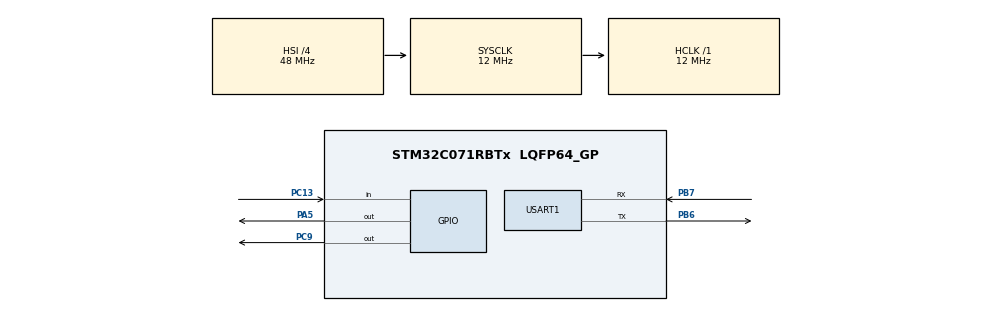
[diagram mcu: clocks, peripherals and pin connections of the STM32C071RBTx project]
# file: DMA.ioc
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Dma.MEMTOMEM.0.Direction=DMA_MEMORY_TO_MEMORY
Dma.MEMTOMEM.0.EventEnable=DISABLE
Dma.MEMTOMEM.0.Instance=DMA1_Channel1
Dma.MEMTOMEM.0.MemDataAlignment=DMA_MDATAALIGN_BYTE
Dma.MEMTOMEM.0.MemInc=DMA_MINC_ENABLE
Dma.MEMTOMEM.0.Mode=DMA_NORMAL
Dma.MEMTOMEM.0.PeriphDataAlignment=DMA_PDATAALIGN_BYTE
Dma.MEMTOMEM.0.PeriphInc=DMA_PINC_ENABLE
Dma.MEMTOMEM.0.Polarity=HAL_DMAMUX_REQ_GEN_RISING
Dma.MEMTOMEM.0.Priority=DMA_PRIORITY_LOW
Dma.MEMTOMEM.0.RequestNumber=1
Dma.MEMTOMEM.0.SignalID=NONE
Dma.MEMTOMEM.0.SyncEnable=DISABLE
Dma.MEMTOMEM.0.SyncPolarity=HAL_DMAMUX_SYNC_NO_EVENT
Dma.MEMTOMEM.0.SyncRequestNumber=1
Dma.MEMTOMEM.0.SyncSignalID=NONE
Dma.MEMTOMEM.1.Direction=DMA_MEMORY_TO_MEMORY
Dma.MEMTOMEM.1.EventEnable=DISABLE
Dma.MEMTOMEM.1.Instance=DMA1_Channel2
Dma.MEMTOMEM.1.MemDataAlignment=DMA_MDATAALIGN_BYTE
Dma.MEMTOMEM.1.MemInc=DMA_MINC_ENABLE
Dma.MEMTOMEM.1.Mode=DMA_NORMAL
Dma.MEMTOMEM.1.PeriphDataAlignment=DMA_PDATAALIGN_BYTE
Dma.MEMTOMEM.1.PeriphInc=DMA_PINC_ENABLE
Dma.MEMTOMEM.1.Polarity=HAL_DMAMUX_REQ_GEN_RISING
Dma.MEMTOMEM.1.Priority=DMA_PRIORITY_LOW
Dma.MEMTOMEM.1.RequestNumber=1
Dma.MEMTOMEM.1.SignalID=NONE
Dma.MEMTOMEM.1.SyncEnable=DISABLE
Dma.MEMTOMEM.1.SyncPolarity=HAL_DMAMUX_SYNC_NO_EVENT
Dma.MEMTOMEM.1.SyncRequestNumber=1
Dma.MEMTOMEM.1.SyncSignalID=NONE
Dma.Request0=MEMTOMEM
Dma.Request1=MEMTOMEM
Dma.Request2=USART1_RX
Dma.USART1_RX.2.Direction=DMA_PERIPH_TO_MEMORY
Dma.USART1_RX.2.EventEnable=DISABLE
Dma.USART1_RX.2.Instance=DMA1_Channel3
Dma.USART1_RX.2.MemDataAlignment=DMA_MDATAALIGN_BYTE
Dma.USART1_RX.2.MemInc=DMA_MINC_ENABLE
Dma.USART1_RX.2.Mode=DMA_NORMAL
Dma.USART1_RX.2.PeriphDataAlignment=DMA_PDATAALIGN_BYTE
Dma.USART1_RX.2.PeriphInc=DMA_PINC_DISABLE
Dma.USART1_RX.2.Polarity=HAL_DMAMUX_REQ_GEN_RISING
Dma.USART1_RX.2.Priority=DMA_PRIORITY_LOW
Dma.USART1_RX.2.RequestNumber=1
Dma.USART1_RX.2.SignalID=NONE
Dma.USART1_RX.2.SyncEnable=DISABLE
Dma.USART1_RX.2.SyncPolarity=HAL_DMAMUX_SYNC_NO_EVENT
Dma.USART1_RX.2.SyncRequestNumber=1
Dma.USART1_RX.2.SyncSignalID=NONE
Mcu.Family=STM32C0
Mcu.Name=STM32C071RBTx
Mcu.Package=LQFP64_GP
NUCLEO-C071RB.BUTTON=1
NUCLEO-C071RB.LD1=true
NUCLEO-C071RB.LD2=true
NUCLEO-C071RB.VCP=true
NVIC.DMA1_Channel1_IRQn=true\:0\:0\:false\:false\:true\:true\:true\:true
NVIC.DMA1_Channel2_3_IRQn=true\:0\:0\:false\:false\:true\:false\:true\:true
NVIC.EXTI4_15_IRQn=true\:0\:0\:false\:false\:true\:false\:true\:true
NVIC.USART1_IRQn=true\:0\:0\:false\:false\:true\:true\:true\:true
PA2.Signal=USART2_TX
PA3.Signal=USART2_RX
PA5.Signal=GPIO_Output
PB6.Mode=Asynchronous
PB6.Signal=USART1_TX
PB7.Mode=Asynchronous
PB7.Signal=USART1_RX
PC13.Signal=GPIO_Input
PC9.Signal=GPIO_Output
ProjectManager.HeapSize=0x200
ProjectManager.StackSize=0x400
ProjectManager.TargetToolchain=STM32CubeIDE
RCC.ADCFreq_Value=12000000
RCC.AHBFreq_Value=12000000
RCC.CortexFreq_Value=12000000
RCC.EXTERNAL_CLOCK_VALUE=12288000
RCC.HCLKFreq_Value=12000000
RCC.HSE_VALUE=8000000
RCC.HSI48_VALUE=48000000
RCC.HSI_VALUE=48000000
RCC.LSE_VALUE=32768
RCC.SYSCLKFreq_VALUE=12000000
USART1.VirtualMode-Asynchronous=VM_ASYNC
VP_NUCLEO-C071RB_VS_BSP_COMMON.Mode=COMMON
board=NUCLEO-C071RB

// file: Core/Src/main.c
/* USER CODE BEGIN Header */
/**
  ******************************************************************************
  * @file           : main.c
  * @brief          : Main program body
  ******************************************************************************
  * @attention
  *
  * Copyright (c) 2026 STMicroelectronics.
  * All rights reserved.
  *
  * This software is licensed under terms that can be found in the LICENSE file
  * in the root directory of this software component.
  * If no LICENSE file comes with this software, it is provided AS-IS.
  *
  ******************************************************************************
  */
/* USER CODE END Header */
#include "main.h"
#include "dma.h"
#include "usart.h"
#include "gpio.h"

/* USER CODE BEGIN Includes */
#include <string.h>
/* USER CODE END Includes */

COM_InitTypeDef BspCOMInit;

/* USER CODE BEGIN PV */

#define DMA_RX_BUFFER_SIZE 64

uint8_t dma_rx_buffer[DMA_RX_BUFFER_SIZE];

volatile char rx_string[DMA_RX_BUFFER_SIZE] = {0};

volatile uint16_t dma_rx_size = 0;
volatile uint16_t dma_message_count = 0;
volatile uint8_t dma_rx_complete_flag = 0;
volatile uint8_t uart_error_flag = 0;
volatile HAL_StatusTypeDef uart_status = HAL_OK;

/* USER CODE END PV */

void SystemClock_Config(void);

/* USER CODE BEGIN 0 */
//void XferCpltCallback(DMA_HandleTypeDef *hdma);
//uint8_t Buffer_Src[]={0,1,2,3,4,5,6,7,8,9};
//uint8_t Buffer_Dest[10];
/* USER CODE END 0 */

int main(void)
{

  /* MCU Configuration--------------------------------------------------------*/

  /* Reset of all peripherals, Initializes the Flash interface and the Systick. */
  HAL_Init();

  /* Configure the system clock */
  SystemClock_Config();

  /* Initialize all configured peripherals */
  MX_DMA_Init();
  MX_GPIO_Init();
  MX_USART1_UART_Init();
  /* USER CODE BEGIN 2 */

  /* Initialize leds */
  BSP_LED_Init(LED_GREEN);
  BSP_LED_Init(LED_BLUE);
//  HAL_DMA_Start(&hdma_memtomem_dma1_channel1, (uint32_t) (Buffer_Src), (uint32_t) (Buffer_Dest), 10);
//  while(HAL_DMA_PollForTransfer(&hdma_memtomem_dma1_channel1, HAL_DMA_FULL_TRANSFER, 100) != HAL_OK)
//  {
//    __NOP();
//  }
//  hdma_memtomem_dma1_channel1.XferCpltCallback=&XferCpltCallback;
//  HAL_DMA_Start_IT(&hdma_memtomem_dma1_channel1,(uint32_t)Buffer_Src,(uint32_t)Buffer_Dest,10);
  /*
   * Start USART1 DMA reception.
   * ReceiveToIdle means callback is called when:
   * 1. buffer is full, or
   * 2. UART line becomes idle after receiving data.
   */
  uart_status = HAL_UARTEx_ReceiveToIdle_DMA(&huart1,
                                             dma_rx_buffer,
                                             DMA_RX_BUFFER_SIZE);

  if (uart_status != HAL_OK)
  {
      Error_Handler();
  }

  /*
   * Optional: disable half-transfer interrupt.
   * This prevents callback from running when buffer is half full.
   */
  __HAL_DMA_DISABLE_IT(huart1.hdmarx, DMA_IT_HT);
  /* USER CODE END 2 */

  /* Initialize leds */
  BSP_LED_Init(LED_GREEN);
  BSP_LED_Init(LED_BLUE);

  /* Initialize USER push-button, will be used to trigger an interrupt each time it's pressed.*/
  BSP_PB_Init(BUTTON_USER, BUTTON_MODE_EXTI);

  /* Initialize COM1 port (115200, 8 bits (7-bit data + 1 stop bit), no parity */
  BspCOMInit.BaudRate   = 115200;
  BspCOMInit.WordLength = COM_WORDLENGTH_8B;
  BspCOMInit.StopBits   = COM_STOPBITS_1;
  BspCOMInit.Parity     = COM_PARITY_NONE;
  BspCOMInit.HwFlowCtl  = COM_HWCONTROL_NONE;
  if (BSP_COM_Init(COM1, &BspCOMInit) != BSP_ERROR_NONE)
  {
    Error_Handler();
  }

  /* Infinite loop */
  /* USER CODE BEGIN WHILE */
  while (1)
  {
      if (dma_rx_complete_flag == 1)
      {
          dma_rx_complete_flag = 0;
          BSP_LED_Toggle(LED_GREEN);
      }

      HAL_Delay(10);

    /* USER CODE END WHILE */

  }
}

void SystemClock_Config(void)
{
  RCC_OscInitTypeDef RCC_OscInitStruct = {0};
  RCC_ClkInitTypeDef RCC_ClkInitStruct = {0};

  __HAL_FLASH_SET_LATENCY(FLASH_LATENCY_0);

  /** Initializes the RCC Oscillators according to the specified parameters
  * in the RCC_OscInitTypeDef structure.
  */
  RCC_OscInitStruct.OscillatorType = RCC_OSCILLATORTYPE_HSI;
  RCC_OscInitStruct.HSIState = RCC_HSI_ON;
  RCC_OscInitStruct.HSIDiv = RCC_HSI_DIV4;
  RCC_OscInitStruct.HSICalibrationValue = RCC_HSICALIBRATION_DEFAULT;
  if (HAL_RCC_OscConfig(&RCC_OscInitStruct) != HAL_OK)
  {
    Error_Handler();
  }

  /** Initializes the CPU, AHB and APB buses clocks
  */
  RCC_ClkInitStruct.ClockType = RCC_CLOCKTYPE_HCLK|RCC_CLOCKTYPE_SYSCLK
                              |RCC_CLOCKTYPE_PCLK1;
  RCC_ClkInitStruct.SYSCLKSource = RCC_SYSCLKSOURCE_HSI;
  RCC_ClkInitStruct.SYSCLKDivider = RCC_SYSCLK_DIV1;
  RCC_ClkInitStruct.AHBCLKDivider = RCC_HCLK_DIV1;
  RCC_ClkInitStruct.APB1CLKDivider = RCC_APB1_DIV1;

  if (HAL_RCC_ClockConfig(&RCC_ClkInitStruct, FLASH_LATENCY_0) != HAL_OK)
  {
    Error_Handler();
  }
}

/* USER CODE BEGIN 4 */

/* USER CODE BEGIN 4 */

void HAL_UARTEx_RxEventCallback(UART_HandleTypeDef *huart, uint16_t Size)
{
    if (huart->Instance == USART1)
    {
        dma_rx_size = Size;
        dma_message_count++;
        dma_rx_complete_flag = 1;

        /*
         * Copy received DMA data into rx_string
         * so it is easy to watch in Live Expressions.
         */
        for (uint16_t i = 0; i < Size && i < DMA_RX_BUFFER_SIZE - 1; i++)
        {
            /*
             * Remove CR/LF characters from serial monitor line ending.
             */
            if ((dma_rx_buffer[i] == '\r') || (dma_rx_buffer[i] == '\n'))
            {
                rx_string[i] = '\0';
                break;
            }
            else
            {
                rx_string[i] = (char)dma_rx_buffer[i];
                rx_string[i + 1] = '\0';
            }
        }

        /*
         * Restart DMA reception.
         * Very important for receiving next message.
         */
        HAL_UARTEx_ReceiveToIdle_DMA(&huart1,
                                     dma_rx_buffer,
                                     DMA_RX_BUFFER_SIZE);

        /*
         * Optional: disable half-transfer interrupt again after restart.
         */
        __HAL_DMA_DISABLE_IT(huart1.hdmarx, DMA_IT_HT);
    }
}

void HAL_UART_ErrorCallback(UART_HandleTypeDef *huart)
{
    if (huart->Instance == USART1)
    {
        uart_error_flag = 1;

        /*
         * Restart DMA after UART error.
         */
        HAL_UARTEx_ReceiveToIdle_DMA(&huart1,
                                     dma_rx_buffer,
                                     DMA_RX_BUFFER_SIZE);

        __HAL_DMA_DISABLE_IT(huart1.hdmarx, DMA_IT_HT);
    }
}

/* USER CODE END 4 */

void Error_Handler(void)
{
  __disable_irq();
  while (1)
  {
  }
}
